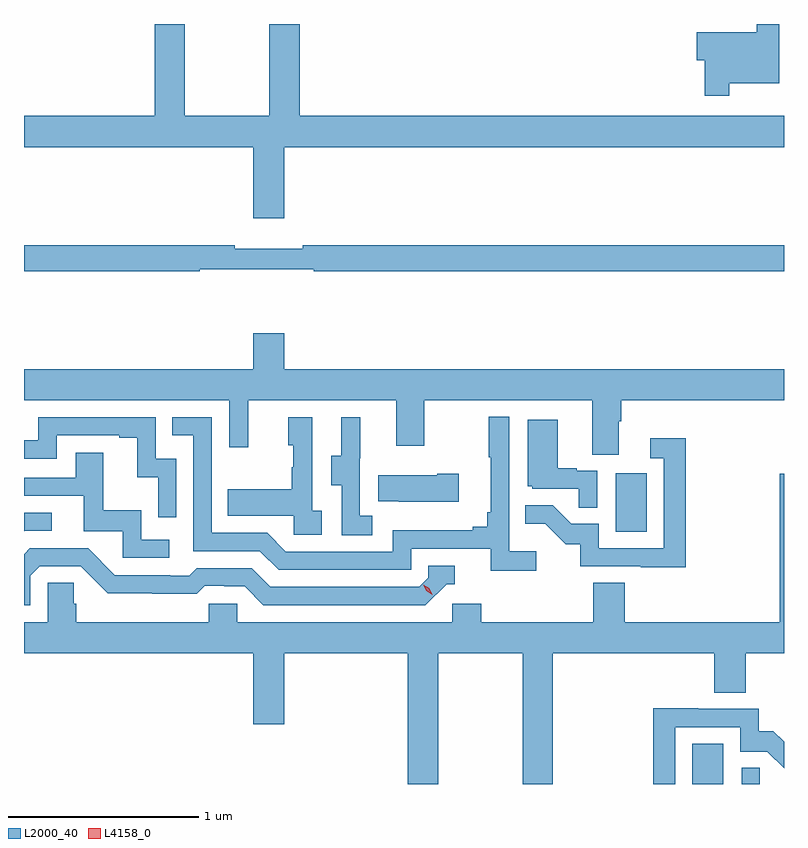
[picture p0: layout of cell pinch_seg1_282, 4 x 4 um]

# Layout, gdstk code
import gdstk
lib = gdstk.Library(unit=1e-6, precision=1e-09)
def R(c, l, rs):  # rectangles x0, y0, x1, y1
    for r in rs: c.add(gdstk.rectangle(r[:2], r[2:], *l))
def P(c, l, *ps):  # polygons
    for p in ps: c.add(gdstk.Polygon(p, *l))
L2000_40 = (2000, 40)
L4158_0 = (4158, 0)

pinch_seg1_282 = lib.new_cell('pinch_seg1_282')
R(pinch_seg1_282, L2000_40, [(946.538,561.7,946.702,561.913), (946.8,561.7,946.895,561.785), (946.136,563.028,946.3,563.335)])
P(pinch_seg1_282, L2000_40, [(944.392,565.052),(947.022,565.052),(947.022,565.216),(944.474,565.216),(944.474,565.7),(944.314,565.7),(944.314,565.216),(943.869,565.216),(943.869,565.7),(943.709,565.7),(943.709,565.216),(943.022,565.216),(943.022,565.052),(944.228,565.052),(944.228,564.678),(944.392,564.678)],
  [(946.735,565.388),(946.996,565.388),(946.996,565.7),(946.879,565.7),(946.879,565.657),(946.562,565.657),(946.562,565.51),(946.606,565.51),(946.606,565.323),(946.735,565.323)],
  [(943.946,564.408),(944.546,564.408),(944.546,564.4),(947.022,564.4),(947.022,564.536),(944.488,564.536),(944.488,564.517),(944.132,564.517),(944.132,564.536),(943.022,564.536),(943.022,564.4),(943.946,564.4)],
  [(946.153,563.608),(946.166,563.608),(946.166,563.72),(947.022,563.72),(947.022,563.884),(944.392,563.884),(944.392,564.073),(944.228,564.073),(944.228,563.884),(943.022,563.884),(943.022,563.72),(944.103,563.72),(944.103,563.472),(944.201,563.472),(944.201,563.72),(944.981,563.72),(944.981,563.481),(945.129,563.481),(945.129,563.72),(946.013,563.72),(946.013,563.434),(946.153,563.434)],
  [(945.718,562.924),(945.576,562.924),(945.576,563.632),(945.468,563.632),(945.468,563.419),(945.479,563.419),(945.479,563.131),(945.46,563.131),(945.46,563.054),(945.383,563.054),(945.383,563.035),(944.964,563.035),(944.964,562.923),(944.4,562.923),(944.301,563.022),(944.01,563.022),(944.01,563.631),(943.801,563.631),(943.801,563.535),(943.914,563.535),(943.914,562.926),(944.264,562.926),(944.363,562.827),(945.06,562.827),(945.06,562.938),(945.479,562.938),(945.479,562.822),(945.718,562.822)],
  [(943.824,563.412),(943.716,563.412),(943.716,563.631),(943.098,563.631),(943.098,563.508),(943.022,563.508),(943.022,563.412),(943.194,563.412),(943.194,563.535),(943.523,563.535),(943.523,563.523),(943.619,563.523),(943.619,563.315),(943.728,563.315),(943.728,563.103),(943.824,563.103)],
  [(944.59,563.138),(944.538,563.138),(944.538,563.629),(944.414,563.629),(944.414,563.484),(944.44,563.484),(944.44,563.366),(944.43,563.366),(944.43,563.251),(944.095,563.251),(944.095,563.111),(944.442,563.111),(944.442,563.013),(944.59,563.013)],
  [(944.854,563.111),(944.79,563.111),(944.79,563.415),(944.792,563.415),(944.792,563.629),(944.693,563.629),(944.693,563.427),(944.639,563.427),(944.639,563.272),(944.694,563.272),(944.694,563.008),(944.854,563.008)],
  [(946.038,563.349),(945.932,563.349),(945.932,563.362),(945.832,563.362),(945.832,563.617),(945.674,563.617),(945.674,563.268),(945.696,563.268),(945.696,563.253),(945.943,563.253),(945.943,563.155),(946.038,563.155)],
  [(946.505,563.521),(946.317,563.521),(946.317,563.415),(946.389,563.415),(946.389,562.941),(946.047,562.941),(946.047,563.07),(945.903,563.07),(945.805,563.168),(945.661,563.168),(945.661,563.069),(945.765,563.069),(945.872,562.962),(945.949,562.962),(945.949,562.845),(946.267,562.845),(946.267,562.84),(946.505,562.84)],
  [(943.786,562.986),(943.638,562.986),(943.638,563.14),(943.439,563.14),(943.439,563.443),(943.295,563.443),(943.295,563.313),(943.022,563.313),(943.022,563.217),(943.337,563.217),(943.337,563.031),(943.542,563.031),(943.542,562.89),(943.786,562.89)],
  [(945.31,563.334),(945.197,563.334),(945.197,563.326),(944.887,563.326),(944.887,563.189),(944.995,563.189),(944.995,563.186),(945.31,563.186)],
  [(945.201,562.388),(945.646,562.388),(945.646,561.7),(945.806,561.7),(945.806,562.388),(946.655,562.388),(946.655,562.18),(946.82,562.18),(946.82,562.388),(947.022,562.388),(947.022,563.332),(947,563.332),(947,562.552),(946.184,562.552),(946.184,562.76),(946.019,562.76),(946.019,562.552),(945.428,562.552),(945.428,562.65),(945.276,562.65),(945.276,562.552),(944.145,562.552),(944.145,562.65),(943.995,562.65),(943.995,562.552),(943.298,562.552),(943.298,562.65),(943.283,562.65),(943.283,562.76),(943.146,562.76),(943.146,562.552),(943.022,562.552),(943.022,562.388),(944.228,562.388),(944.228,562.014),(944.392,562.014),(944.392,562.388),(945.041,562.388),(945.041,561.7),(945.201,561.7)],
  [(943.026,563.034),(943.168,563.034),(943.168,563.127),(943.022,563.127),(943.022,563.03)],
  [(943.056,562.797),(943.104,562.845),(943.32,562.845),(943.462,562.703),(943.698,562.703),(943.698,562.701),(943.931,562.701),(943.973,562.743),(944.076,562.743),(944.076,562.74),(944.183,562.74),(944.282,562.641),(945.135,562.641),(945.246,562.752),(945.289,562.752),(945.289,562.848),(945.15,562.848),(945.15,562.785),(945.102,562.737),(944.319,562.737),(944.22,562.836),(943.931,562.836),(943.892,562.797),(943.793,562.797),(943.793,562.8),(943.5,562.8),(943.359,562.941),(943.053,562.941),(943.022,562.91),(943.022,562.641),(943.056,562.641)],
  [(946.449,561.999),(946.791,561.999),(946.791,561.87),(946.935,561.87),(947.022,561.783),(947.022,561.922),(946.966,561.978),(946.89,561.978),(946.89,562.095),(946.571,562.095),(946.571,562.1),(946.333,562.1),(946.333,561.7),(946.449,561.7)])
P(pinch_seg1_282, L4158_0, [(945.17,562.696),(945.139,562.716),(945.124,562.748),(945.124,562.749),(945.124,562.749),(945.154,562.729),(945.17,562.697),(945.17,562.696)])

lib.write_gds('pinch_seg1_282.gds')
